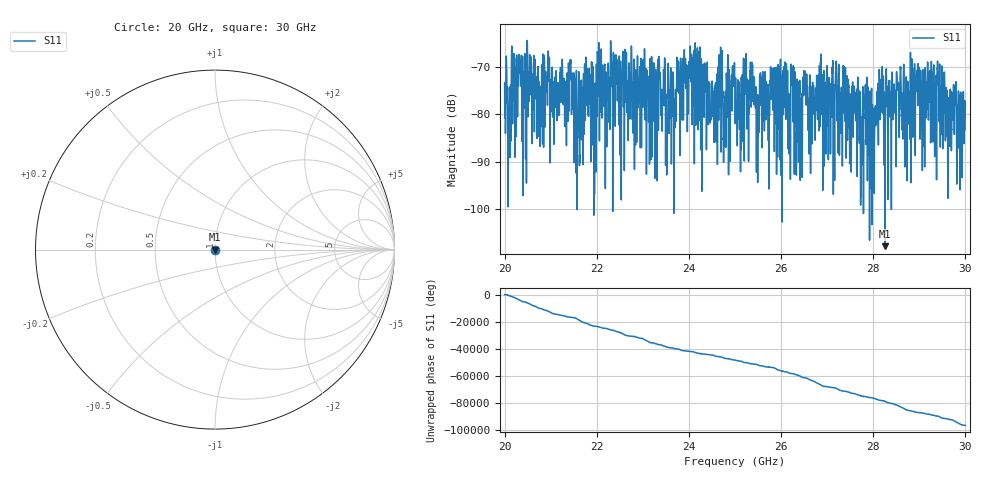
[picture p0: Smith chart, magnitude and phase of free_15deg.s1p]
#  HZ  S  RI  R  50.00
! Rohde & Schwarz ZVA40 4Ports - Version 3.90 - 1145.1110k42 SN: 100403
! Date: 2023-09-30 06:29:54
! Measurement: S12
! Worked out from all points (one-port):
!   5001 points, 20 GHz to 30 GHz, reference 50 ohm
!   lowest |S11| = -107.9 dB at 28.26 GHz (marker M1), VSWR 1.00, Z = 50 - j0.000342 ohm
!   |S11| at or under -10 dB: start of sweep to end of sweep
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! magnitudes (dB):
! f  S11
! 20 GHz  -73.3
! 21.25 GHz  -68.3
! 21.31 GHz  -80.2
! 21.43 GHz  -69.3
! 21.61 GHz  -72.3
! 21.95 GHz  -82.6
! 22.05 GHz  -71.6
! 22.19 GHz  -95.7
! 22.34 GHz  -77.4
! 22.5 GHz  -77.4
! 23.67 GHz  -76.2
! 23.75 GHz  -72.7
! 24.22 GHz  -77.4
! 24.5 GHz  -74.0
! 24.68 GHz  -76.3
! 25 GHz  -72.9
! 25.37 GHz  -69.8
! 25.48 GHz  -77.6
! 26.25 GHz  -71.8
! 26.41 GHz  -80.2
! 26.52 GHz  -71.8
! 26.63 GHz  -75.4
! 26.85 GHz  -75.3
! 27.5 GHz  -76.3
! 28.26 GHz  -107.9
! 28.75 GHz  -73.2
! 29.22 GHz  -77.4
! 30 GHz  -78.4
